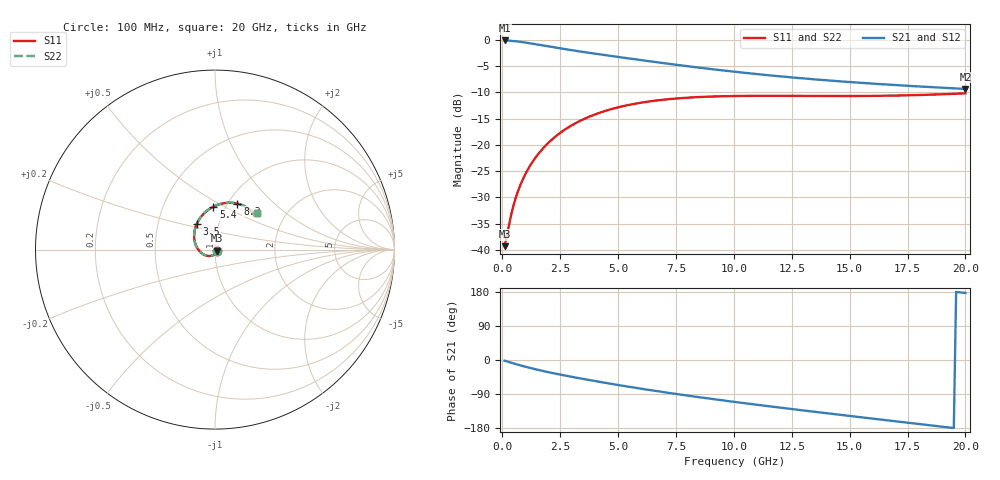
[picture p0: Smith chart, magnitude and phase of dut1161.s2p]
! Touchstone file exported from HFSS 2024.1.0
!  File:  C:/UserFiles/LocalFiles/RDL_TSV_Batchsim/temp_RDL_TSV_1161_1780120668.aedt
!  Generated:  02:13:58 PM May 30, 2026
!  Design:  RDL_TSV
!  Project:  temp_RDL_TSV_1161_1780120668
!  Setup:  Setup1
!  Solution:  Sweep
! Variables:
!  dtsv = 13.44um
!  hbump = 3um
!  htsv = 94.29um
!  ldown = 183.92um
!  lrdl = 426.98um
!  p = 40
!  p1 = 57.14um
!  rhole = 10um
!  subl = 2259.68um
!  t = 450um
!  tdown = 2.85um
!  trdl = 4.46um
!  viad = 10um
!  wdown = 21.52um
!  wrdl = 23.36um
!  xbump = 18um
# GHz S MA R 50.000000
! Terminal data exported
! Port[1] = TM1_1_T1
! Port[2] = TM1_4_T1
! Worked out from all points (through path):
!   200 points, 100 MHz to 20 GHz, reference 50 ohm
!   highest |S21| = -0.09 dB at 100 MHz (marker M1); lowest = -9.3 dB at 20 GHz (marker M2)
!   group delay of S21, straight-line fit = 23.7 ps
!   lowest |S11| = -39.3 dB at 100 MHz (marker M3), VSWR 1.02, Z = 50.9 - j0.58 ohm
!   |S11| at or under -10 dB: start of sweep to end of sweep
!   |S22| runs from -39.3 to -10.1 dB; largest |S21 - S12| = 1.5e-14
!   S11 on the Smith chart (normalised r, x): 100 MHz: 1.02, -0.01; 3.5 GHz: 0.79, +0.23; 5.4 GHz: 0.88, +0.44; 8.3 GHz: 1.11, +0.62; 20 GHz: 1.44, +0.65
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0.1  0.01087 -31.6  0.9896 -1.9  0.9896 -1.9  0.01087 -31.6
! Gamma 0 0 0 0
! Port Impedance 50 0 50 0
0.3  0.01793 -73.2  0.9846 -5.7  0.9846 -5.7  0.01793 -73.2
0.4  0.02249 -86.7  0.9808 -7.5  0.9808 -7.5  0.02249 -86.8
0.6  0.0323 -107.6  0.9711 -11.1  0.9711 -11.1  0.03231 -107.7
0.7  0.03739 -116.3  0.9654 -12.8  0.9654 -12.8  0.03739 -116.4
0.9  0.04773 -131.6  0.9523 -16.2  0.9523 -16.2  0.04774 -131.6
1.2  0.06347 -150.9  0.9301 -21.0  0.9301 -21.0  0.06351 -151.0
1.7  0.08977 -176.9  0.8908 -28.2  0.8908 -28.2  0.08987 -177.0
2.2  0.1155 162.6  0.853 -34.8  0.853 -34.8  0.1157 162.5
2.8  0.1447 143.1  0.8118 -42.1  0.8118 -42.1  0.145 143.1
3.5  0.1756 125.2  0.7689 -50.1  0.7689 -50.1  0.176 125.2
4.4  0.2095 107.4  0.7195 -59.8  0.7195 -59.8  0.2101 107.4
5.4  0.2391 92.2  0.6701 -69.9  0.6701 -69.9  0.2398 92.2
6.8  0.2675 76.3  0.6085 -83.3  0.6085 -83.3  0.2684 76.3
8.3  0.2846 64.0  0.5519 -96.5  0.5519 -96.5  0.2856 64.0
10.1  0.2929 53.8  0.4964 -111.2  0.4964 -111.2  0.294 53.8
11.7  0.2941 47.8  0.4568 -123.5  0.4568 -123.5  0.2953 47.8
13.4  0.293 43.9  0.4231 -136.0  0.4231 -136.0  0.2942 43.8
15  0.2925 41.9  0.3975 -147.6  0.3975 -147.6  0.2937 41.8
16.7  0.2947 41.1  0.3753 -159.7  0.3753 -159.7  0.2959 41.0
18.3  0.3004 40.9  0.3578 -171.1  0.3578 -171.1  0.3015 40.8
20  0.3103 40.9  0.342 176.9  0.342 176.9  0.3113 40.8
